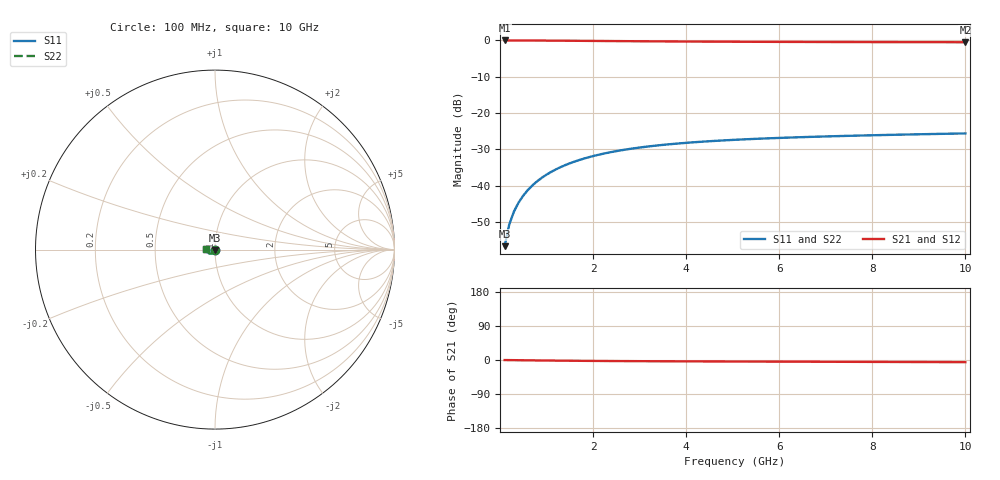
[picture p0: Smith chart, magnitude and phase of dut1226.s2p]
! Touchstone file exported from HFSS 2024.1.0
!  File:  C:/UserFiles/LocalFiles/RDL_TSV_Batchsim/temp_TSV1_1226_1780249938.aedt
!  Generated:  01:59:04 AM Jun  1, 2026
!  Design:  TSV1
!  Project:  temp_TSV1_1226_1780249938
!  Setup:  Setup1
!  Solution:  Sweep
! Variables:
!  dtsv = 11.17um
!  hbump = 3um
!  htsv = 89.44um
!  lrdl = 252.1521522um
!  p = 40
!  p1 = 55.4um
!  t = 500um
!  trdl = 3um
!  wrdl = 24.89489489um
# GHz S MA R 50.000000
! Terminal data exported
! Port[1] = TSV22_T1
! Port[2] = TSV22_T2
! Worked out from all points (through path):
!   100 points, 100 MHz to 10 GHz, reference 50 ohm
!   highest |S21| = 0.00 dB at 100 MHz (marker M1); lowest = -0.5 dB at 10 GHz (marker M2)
!   lowest |S11| = -56.6 dB at 100 MHz (marker M3), VSWR 1.00, Z = 50 - j0.147 ohm
!   |S11| at or under -10 dB: start of sweep to end of sweep
!   |S22| runs from -56.6 to -25.6 dB; largest |S21 - S12| = 1.2e-14
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0.1  0.001476 -87.1  0.9998 -0.1  0.9998 -0.1  0.001476 -87.1
! Gamma 0 0 0 0
! Port Impedance 50 0 50 0
0.2  0.002944 -91.3  0.9997 -0.3  0.9997 -0.3  0.002944 -91.3
0.3  0.00441 -93.9  0.9994 -0.4  0.9994 -0.4  0.00441 -93.9
0.4  0.005869 -96.2  0.999 -0.6  0.999 -0.6  0.005869 -96.2
0.5  0.007317 -98.3  0.9986 -0.7  0.9986 -0.7  0.007317 -98.3
0.6  0.008748 -100.4  0.9981 -0.9  0.9981 -0.9  0.008748 -100.4
0.7  0.01016 -102.4  0.9974 -1.0  0.9974 -1.0  0.01016 -102.4
0.8  0.01154 -104.3  0.9968 -1.1  0.9968 -1.1  0.01154 -104.3
0.9  0.0129 -106.2  0.996 -1.2  0.996 -1.2  0.0129 -106.2
1.1  0.01553 -110.0  0.9943 -1.5  0.9943 -1.5  0.01553 -110.0
1.4  0.01922 -115.2  0.9915 -1.8  0.9915 -1.8  0.01922 -115.2
1.6  0.0215 -118.6  0.9894 -2.0  0.9894 -2.0  0.0215 -118.6
1.8  0.02364 -121.8  0.9873 -2.2  0.9873 -2.2  0.02364 -121.8
2.1  0.02657 -126.3  0.9841 -2.5  0.9841 -2.5  0.02657 -126.3
2.5  0.02999 -131.9  0.9798 -2.8  0.9798 -2.8  0.02999 -131.9
2.9  0.03292 -137.0  0.9758 -3.0  0.9758 -3.0  0.03292 -137.0
3.4  0.036 -142.6  0.9713 -3.3  0.9713 -3.3  0.036 -142.6
4.2  0.03985 -150.5  0.9652 -3.7  0.9652 -3.7  0.03985 -150.5
5.1  0.04309 -157.8  0.9598 -4.0  0.9598 -4.0  0.04309 -157.8
6.7  0.04715 -168.4  0.953 -4.6  0.953 -4.6  0.04715 -168.4
8.4  0.05023 -177.4  0.9484 -5.2  0.9484 -5.2  0.05022 -177.4
10  0.05256 175.5  0.9455 -5.7  0.9455 -5.7  0.05256 175.5
